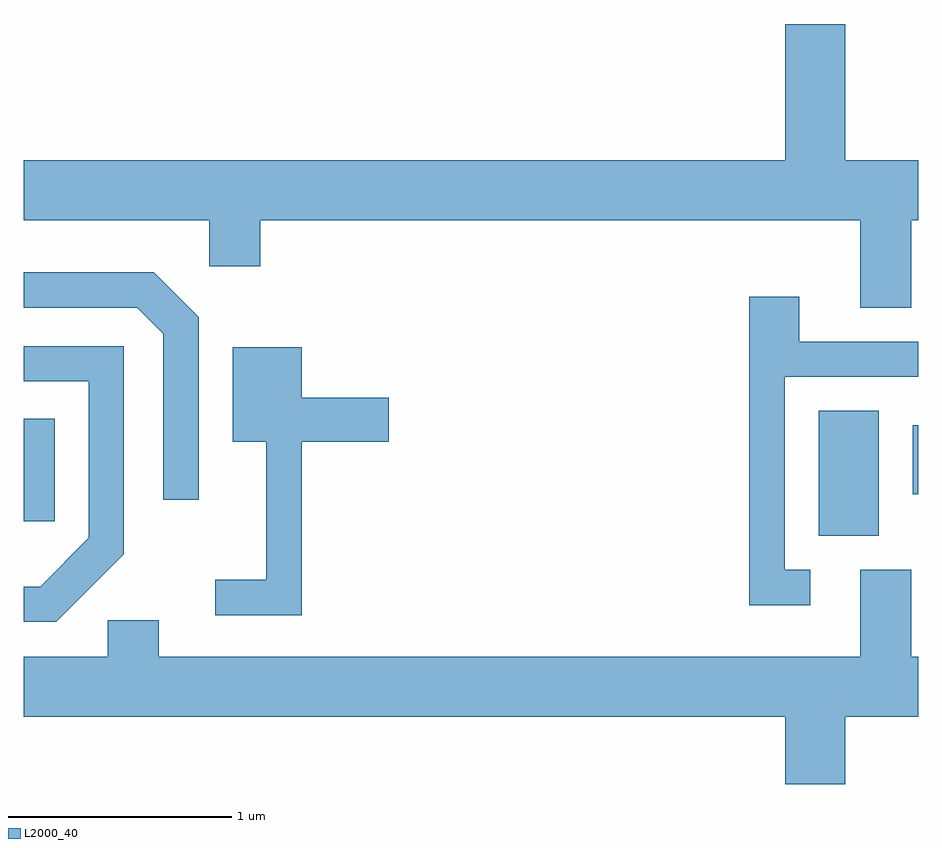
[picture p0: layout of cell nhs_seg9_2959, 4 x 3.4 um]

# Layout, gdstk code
import gdstk
lib = gdstk.Library(unit=1e-6, precision=1e-09)
def R(c, l, rs):  # rectangles x0, y0, x1, y1
    for r in rs: c.add(gdstk.rectangle(r[:2], r[2:], *l))
def P(c, l, *ps):  # polygons
    for p in ps: c.add(gdstk.Polygon(p, *l))
L2000_40 = (2000, 40)

nhs_seg9_2959 = lib.new_cell('nhs_seg9_2959')
R(nhs_seg9_2959, L2000_40, [(275.166,2023.706,275.434,2024.264), (271.611,2023.771,271.749,2024.229), (275.586,2023.891,275.611,2024.199)])
P(nhs_seg9_2959, L2000_40, [(275.579,2025.116),(275.611,2025.116),(275.611,2025.384),(275.284,2025.384),(275.284,2025.994),(275.016,2025.994),(275.016,2025.384),(271.611,2025.384),(271.611,2025.116),(272.441,2025.116),(272.441,2024.911),(272.669,2024.911),(272.669,2025.116),(275.351,2025.116),(275.351,2024.726),(275.579,2024.726)],
  [(272.394,2024.682),(272.192,2024.884),(271.611,2024.884),(271.611,2024.726),(272.119,2024.726),(272.236,2024.609),(272.236,2023.868),(272.394,2023.868)],
  [(275.128,2023.554),(275.014,2023.554),(275.014,2024.416),(275.611,2024.416),(275.611,2024.574),(275.079,2024.574),(275.079,2024.774),(274.856,2024.774),(274.856,2023.396),(275.128,2023.396)],
  [(272.059,2023.624),(272.059,2024.554),(271.611,2024.554),(271.611,2024.396),(271.901,2024.396),(271.901,2023.697),(271.684,2023.479),(271.611,2023.479),(271.611,2023.321),(271.757,2023.321)],
  [(272.854,2024.126),(273.244,2024.126),(273.244,2024.324),(272.854,2024.324),(272.854,2024.549),(272.546,2024.549),(272.546,2024.126),(272.696,2024.126),(272.696,2023.509),(272.468,2023.509),(272.468,2023.351),(272.854,2023.351)],
  [(275.284,2022.896),(275.611,2022.896),(275.611,2023.164),(275.579,2023.164),(275.579,2023.554),(275.351,2023.554),(275.351,2023.164),(272.214,2023.164),(272.214,2023.329),(271.986,2023.329),(271.986,2023.164),(271.611,2023.164),(271.611,2022.896),(275.016,2022.896),(275.016,2022.596),(275.284,2022.596)])

lib.write_gds('nhs_seg9_2959.gds')
